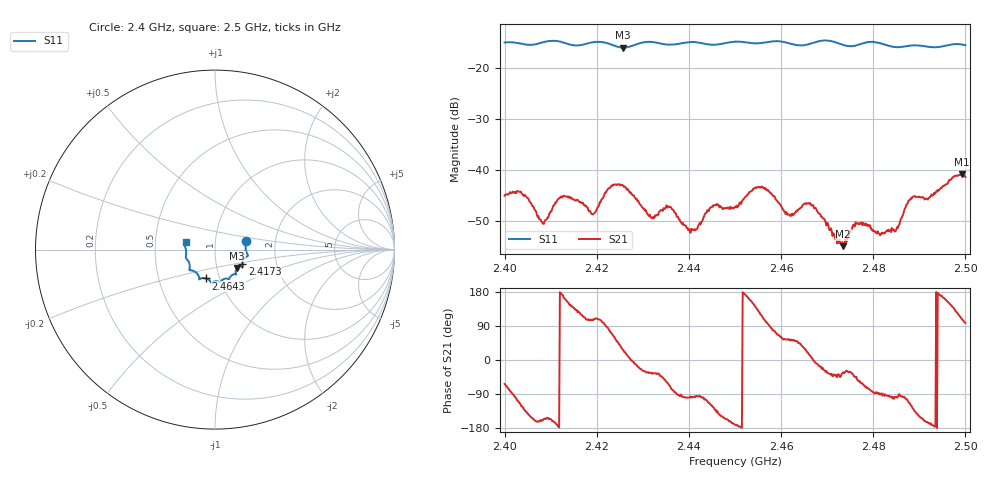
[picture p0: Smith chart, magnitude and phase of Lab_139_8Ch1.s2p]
# Hz S RI R 50
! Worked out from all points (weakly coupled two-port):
!   601 points, 2.4 GHz to 2.5 GHz, reference 50 ohm
!   highest |S21| = -40.83 dB at 2.4992 GHz (marker M1); lowest = -54.9 dB at 2.4735 GHz (marker M2)
!   lowest |S11| = -15.9 dB at 2.4257 GHz (marker M3), VSWR 1.38, Z = 62.5 - j13.1 ohm
!   |S11| at or under -10 dB: start of sweep to end of sweep
!   S12 and S22 are empty: the file has one direction only
!   S11 on the Smith chart (normalised r, x): 2.4 GHz: 1.41, +0.14; 2.4173 GHz: 1.34, -0.23; 2.4643 GHz: 0.86, -0.28; 2.5 GHz: 0.72, +0.06
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2.4e9  0.1731 0.0494  0.00255 -0.00502  0 0  0 0
2.403333e9  0.1735 0.0319  -0.00264 -0.00554  0 0  0 0
2.408333e9  0.1794 -0.0234  -0.00278 -0.0011  0 0  0 0
2.412333e9  0.1785 -0.0379  -0.00549 0.000494  0 0  0 0
2.416667e9  0.1529 -0.0744  -0.00229 0.00417  0 0  0 0
2.417333e9  0.1521 -0.0818  -0.00175 0.00423  0 0  0 0
2.419333e9  0.1537 -0.0958  -0.00115 0.00355  0 0  0 0
2.425667e9  0.1228 -0.1023  0.00635 0.00322  0 0  0 0
2.433333e9  0.1131 -0.137  0.00294 -0.00213  0 0  0 0
2.440833e9  0.078 -0.1647  -0.000373 -0.00256  0 0  0 0
2.445167e9  0.0545 -0.1619  -0.00242 -0.00365  0 0  0 0
2.45e9  0.0294 -0.1808  -0.00432 -0.000676  0 0  0 0
2.455333e9  -0.000883 -0.177  -0.00396 0.00555  0 0  0 0
2.4615e9  -0.0273 -0.1755  0.00215 0.003  0 0  0 0
2.464333e9  -0.0499 -0.1606  0.00329 0.00278  0 0  0 0
2.466667e9  -0.0761 -0.1597  0.00447 0.000376  0 0  0 0
2.4735e9  -0.094 -0.1414  0.00151 -0.000964  0 0  0 0
2.476667e9  -0.1232 -0.1173  0.00177 -0.0024  0 0  0 0
2.483333e9  -0.1405 -0.09  -0.000269 -0.00259  0 0  0 0
2.4885e9  -0.1613 -0.0482  -0.00327 -0.00438  0 0  0 0
2.499167e9  -0.1679 0.0376  -0.003 0.00858  0 0  0 0
2.5e9  -0.1635 0.0424  -0.00115 0.0085  0 0  0 0
